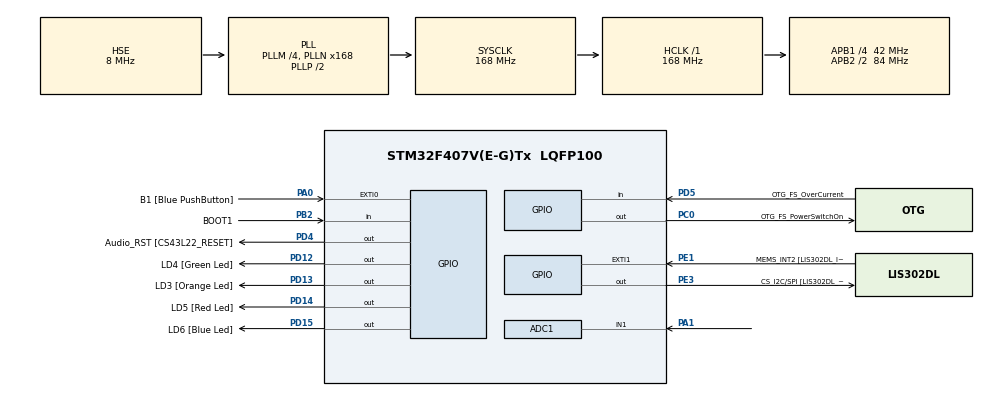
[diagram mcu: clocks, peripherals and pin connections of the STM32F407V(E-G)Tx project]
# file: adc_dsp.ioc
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ADC1.Channel-0\#ChannelRegularConversion=ADC_CHANNEL_1
ADC1.ClockPrescaler=ADC_CLOCK_SYNC_PCLK_DIV4
ADC1.ContinuousConvMode=ENABLE
ADC1.DMAContinuousRequests=ENABLE
ADC1.DataAlign=ADC_DATAALIGN_RIGHT
ADC1.DiscontinuousConvMode=DISABLE
ADC1.EOCSelection=ADC_EOC_SINGLE_CONV
ADC1.EnableAnalogWatchDog=false
ADC1.ExternalTrigConv=ADC_SOFTWARE_START
ADC1.ExternalTrigConvEdge=ADC_EXTERNALTRIGCONVEDGE_NONE
ADC1.InjNumberOfConversion=0
ADC1.NbrOfConversion=1
ADC1.NbrOfConversionFlag=1
ADC1.Rank-0\#ChannelRegularConversion=1
ADC1.Resolution=ADC_RESOLUTION_12B
ADC1.SamplingTime-0\#ChannelRegularConversion=ADC_SAMPLETIME_3CYCLES
ADC1.ScanConvMode=DISABLE
ADC1.master=1
Dma.ADC1.0.Direction=DMA_PERIPH_TO_MEMORY
Dma.ADC1.0.FIFOMode=DMA_FIFOMODE_DISABLE
Dma.ADC1.0.Instance=DMA2_Stream0
Dma.ADC1.0.MemDataAlignment=DMA_MDATAALIGN_WORD
Dma.ADC1.0.MemInc=DMA_MINC_ENABLE
Dma.ADC1.0.Mode=DMA_CIRCULAR
Dma.ADC1.0.PeriphDataAlignment=DMA_PDATAALIGN_WORD
Dma.ADC1.0.PeriphInc=DMA_PINC_DISABLE
Dma.ADC1.0.Priority=DMA_PRIORITY_HIGH
Dma.Request0=ADC1
Mcu.Family=STM32F4
Mcu.Name=STM32F407V(E-G)Tx
Mcu.Package=LQFP100
NVIC.ADC_IRQn=true\:0\:0\:false\:false\:true\:true
NVIC.DMA2_Stream0_IRQn=true\:0\:0\:false\:false\:true\:false
NVIC.PriorityGroup=NVIC_PRIORITYGROUP_0
PA0-WKUP.GPIO_Label=B1 [Blue PushButton]
PA0-WKUP.Signal=GPXTI0
PA1.Signal=ADCx_IN1
PA10.GPIO_Label=OTG_FS_ID
PA10.GPIO_Mode=GPIO_MODE_AF_PP
PA10.GPIO_PuPd=GPIO_NOPULL
PA10.GPIO_Speed=GPIO_SPEED_FREQ_LOW
PA10.Signal=USB_OTG_FS_ID
PA11.GPIO_Label=OTG_FS_DM
PA11.GPIO_Mode=GPIO_MODE_AF_PP
PA11.GPIO_PuPd=GPIO_NOPULL
PA11.GPIO_Speed=GPIO_SPEED_FREQ_LOW
PA11.Signal=USB_OTG_FS_DM
PA12.GPIO_Label=OTG_FS_DP
PA12.GPIO_Mode=GPIO_MODE_AF_PP
PA12.GPIO_PuPd=GPIO_NOPULL
PA12.GPIO_Speed=GPIO_SPEED_FREQ_LOW
PA12.Signal=USB_OTG_FS_DP
PA13.GPIO_Label=SWDIO
PA13.Signal=SYS_JTMS-SWDIO
PA14.GPIO_Label=SWCLK
PA14.Signal=SYS_JTCK-SWCLK
PA4.GPIO_Label=I2S3_WS [CS43L22_LRCK]
PA4.GPIO_Mode=GPIO_MODE_AF_PP
PA4.GPIO_PuPd=GPIO_NOPULL
PA4.GPIO_Speed=GPIO_SPEED_FREQ_LOW
PA4.Signal=I2S3_WS
PA5.GPIO_Label=SPI1_SCK [LIS302DL_SCL/SPC]
PA5.GPIO_Mode=GPIO_MODE_AF_PP
PA5.GPIO_PuPd=GPIO_NOPULL
PA5.GPIO_Speed=GPIO_SPEED_FREQ_LOW
PA5.Signal=SPI1_SCK
PA6.GPIO_Label=SPI1_MISO [LIS302DL_SDO]
PA6.GPIO_Mode=GPIO_MODE_AF_PP
PA6.GPIO_PuPd=GPIO_NOPULL
PA6.GPIO_Speed=GPIO_SPEED_FREQ_LOW
PA6.Signal=SPI1_MISO
PA7.GPIO_Label=SPI1_MOSI [LIS302DL_SDA/SDI/SDO]
PA7.GPIO_Mode=GPIO_MODE_AF_PP
PA7.GPIO_PuPd=GPIO_NOPULL
PA7.GPIO_Speed=GPIO_SPEED_FREQ_LOW
PA7.Signal=SPI1_MOSI
PA9.GPIO_Label=VBUS_FS
PA9.GPIO_Mode=GPIO_MODE_INPUT
PA9.GPIO_PuPd=GPIO_NOPULL
PA9.Signal=USB_OTG_FS_VBUS
PB10.GPIO_Label=CLK_IN [MP45DT02_CLK]
PB10.GPIO_Mode=GPIO_MODE_AF_PP
PB10.GPIO_PuPd=GPIO_NOPULL
PB10.GPIO_Speed=GPIO_SPEED_FREQ_LOW
PB10.Signal=I2S2_CK
PB2.GPIO_Label=BOOT1
PB2.GPIO_Mode=GPIO_MODE_INPUT
PB2.GPIO_PuPd=GPIO_NOPULL
PB2.Signal=GPIO_Input
PB3.GPIO_Label=SWO
PB3.Signal=SYS_JTDO-SWO
PB6.GPIO_Label=Audio_SCL [CS43L22_SCL]
PB6.GPIO_Mode=GPIO_MODE_AF_OD
PB6.GPIO_PuPd=GPIO_NOPULL
PB6.GPIO_Speed=GPIO_SPEED_FREQ_LOW
PB6.Signal=I2C1_SCL
PB9.GPIO_Label=Audio_SDA [CS43L22_SDA]
PB9.GPIO_Mode=GPIO_MODE_AF_OD
PB9.GPIO_PuPd=GPIO_NOPULL
PB9.GPIO_Speed=GPIO_SPEED_FREQ_LOW
PB9.Signal=I2C1_SDA
PC0.GPIO_Label=OTG_FS_PowerSwitchOn
PC0.GPIO_PuPd=GPIO_NOPULL
PC0.GPIO_Speed=GPIO_SPEED_FREQ_LOW
PC0.PinState=GPIO_PIN_SET
PC0.Signal=GPIO_Output
PC10.GPIO_Label=I2S3_SCK [CS43L22_SCLK]
PC10.GPIO_Mode=GPIO_MODE_AF_PP
PC10.GPIO_PuPd=GPIO_NOPULL
PC10.GPIO_Speed=GPIO_SPEED_FREQ_LOW
PC10.Signal=I2S3_CK
PC12.GPIO_Label=I2S3_SD [CS43L22_SDIN]
PC12.GPIO_Mode=GPIO_MODE_AF_PP
PC12.GPIO_PuPd=GPIO_NOPULL
PC12.GPIO_Speed=GPIO_SPEED_FREQ_LOW
PC12.Signal=I2S3_SD
PC14-OSC32_IN.GPIO_Label=PC14-OSC32_IN
PC14-OSC32_IN.Signal=RCC_OSC32_IN
PC15-OSC32_OUT.GPIO_Label=PC15-OSC32_OUT
PC15-OSC32_OUT.Signal=RCC_OSC32_OUT
PC3.GPIO_Label=PDM_OUT [MP45DT02_DOUT]
PC3.GPIO_Mode=GPIO_MODE_AF_PP
PC3.GPIO_PuPd=GPIO_NOPULL
PC3.GPIO_Speed=GPIO_SPEED_FREQ_LOW
PC3.Signal=I2S2_SD
PC7.GPIO_Label=I2S3_MCK [CS43L22_MCLK]
PC7.GPIO_Mode=GPIO_MODE_AF_PP
PC7.GPIO_PuPd=GPIO_NOPULL
PC7.GPIO_Speed=GPIO_SPEED_FREQ_LOW
PC7.Signal=I2S3_MCK
PD12.GPIO_Label=LD4 [Green Led]
PD12.GPIO_PuPd=GPIO_NOPULL
PD12.GPIO_Speed=GPIO_SPEED_FREQ_LOW
PD12.Signal=GPIO_Output
PD13.GPIO_Label=LD3 [Orange Led]
PD13.GPIO_PuPd=GPIO_NOPULL
PD13.GPIO_Speed=GPIO_SPEED_FREQ_LOW
PD13.Signal=GPIO_Output
PD14.GPIO_Label=LD5 [Red Led]
PD14.GPIO_PuPd=GPIO_NOPULL
PD14.GPIO_Speed=GPIO_SPEED_FREQ_LOW
PD14.Signal=GPIO_Output
PD15.GPIO_Label=LD6 [Blue Led]
PD15.GPIO_PuPd=GPIO_NOPULL
PD15.GPIO_Speed=GPIO_SPEED_FREQ_LOW
PD15.Signal=GPIO_Output
PD4.GPIO_Label=Audio_RST [CS43L22_RESET]
PD4.GPIO_PuPd=GPIO_NOPULL
PD4.GPIO_Speed=GPIO_SPEED_FREQ_LOW
PD4.Signal=GPIO_Output
PD5.GPIO_Label=OTG_FS_OverCurrent
PD5.GPIO_Mode=GPIO_MODE_INPUT
PD5.GPIO_PuPd=GPIO_NOPULL
PD5.Signal=GPIO_Input
PE1.GPIO_Label=MEMS_INT2 [LIS302DL_INT2]
PE1.GPIO_ModeDefaultEXTI=GPIO_MODE_EVT_RISING
PE1.GPIO_PuPd=GPIO_NOPULL
PE1.Signal=GPXTI1
PE3.GPIO_Label=CS_I2C/SPI [LIS302DL_CS_I2C/SPI]
PE3.GPIO_PuPd=GPIO_NOPULL
PE3.GPIO_Speed=GPIO_SPEED_FREQ_LOW
PE3.Signal=GPIO_Output
PH0-OSC_IN.GPIO_Label=PH0-OSC_IN
PH0-OSC_IN.Mode=HSE-External-Oscillator
PH0-OSC_IN.Signal=RCC_OSC_IN
PH1-OSC_OUT.GPIO_Label=PH1-OSC_OUT
PH1-OSC_OUT.Mode=HSE-External-Oscillator
PH1-OSC_OUT.Signal=RCC_OSC_OUT
ProjectManager.HeapSize=0x200
ProjectManager.StackSize=0x400
ProjectManager.TargetToolchain=SW4STM32
RCC.48MHZClocksFreq_Value=48000000
RCC.AHBFreq_Value=168000000
RCC.APB1CLKDivider=RCC_HCLK_DIV4
RCC.APB1Freq_Value=42000000
RCC.APB1TimFreq_Value=84000000
RCC.APB2CLKDivider=RCC_HCLK_DIV2
RCC.APB2Freq_Value=84000000
RCC.APB2TimFreq_Value=168000000
RCC.CortexFreq_Value=168000000
RCC.HCLKFreq_Value=168000000
RCC.HSE_VALUE=8000000
RCC.HSI_VALUE=16000000
RCC.LSE_VALUE=32768
RCC.PLLM=4
RCC.PLLN=168
RCC.PLLQ=7
RCC.PLLSourceVirtual=RCC_PLLSOURCE_HSE
RCC.SYSCLKFreq_VALUE=168000000
RCC.SYSCLKSource=RCC_SYSCLKSOURCE_PLLCLK
RCC.VCOOutputFreq_Value=336000000
SH.ADCx_IN1.0=ADC1_IN1,IN1
board=STM32F4DISCOVERY

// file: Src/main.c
/**
  ******************************************************************************
  * File Name          : main.c
  * Description        : Main program body
  ******************************************************************************
  ** This notice applies to any and all portions of this file
  * that are not between comment pairs USER CODE BEGIN and
  * USER CODE END. Other portions of this file, whether
  * inserted by the user or by software development tools
  * are owned by their respective copyright owners.
  *
  * COPYRIGHT(c) 2017 STMicroelectronics
  *
  * Redistribution and use in source and binary forms, with or without modification,
  * are permitted provided that the following conditions are met:
  *   1. Redistributions of source code must retain the above copyright notice,
  *      this list of conditions and the following disclaimer.
  *   2. Redistributions in binary form must reproduce the above copyright notice,
  *      this list of conditions and the following disclaimer in the documentation
  *      and/or other materials provided with the distribution.
  *   3. Neither the name of STMicroelectronics nor the names of its contributors
  *      may be used to endorse or promote products derived from this software
  *      without specific prior written permission.
  *
  * THIS SOFTWARE IS PROVIDED BY THE COPYRIGHT HOLDERS AND CONTRIBUTORS "AS IS"
  * AND ANY EXPRESS OR IMPLIED WARRANTIES, INCLUDING, BUT NOT LIMITED TO, THE
  * IMPLIED WARRANTIES OF MERCHANTABILITY AND FITNESS FOR A PARTICULAR PURPOSE ARE
  * DISCLAIMED. IN NO EVENT SHALL THE COPYRIGHT HOLDER OR CONTRIBUTORS BE LIABLE
  * FOR ANY DIRECT, INDIRECT, INCIDENTAL, SPECIAL, EXEMPLARY, OR CONSEQUENTIAL
  * DAMAGES (INCLUDING, BUT NOT LIMITED TO, PROCUREMENT OF SUBSTITUTE GOODS OR
  * SERVICES; LOSS OF USE, DATA, OR PROFITS; OR BUSINESS INTERRUPTION) HOWEVER
  * CAUSED AND ON ANY THEORY OF LIABILITY, WHETHER IN CONTRACT, STRICT LIABILITY,
  * OR TORT (INCLUDING NEGLIGENCE OR OTHERWISE) ARISING IN ANY WAY OUT OF THE USE
  * OF THIS SOFTWARE, EVEN IF ADVISED OF THE POSSIBILITY OF SUCH DAMAGE.
  *
  ******************************************************************************
  */

#include "main.h"
#include "stm32f4xx_hal.h"

ADC_HandleTypeDef hadc1;
DMA_HandleTypeDef hdma_adc1;

/* USER CODE BEGIN PV */
/* Private variables ---------------------------------------------------------*/
#define MAX_DSP_BUFFER_SIZE 8
static int16_t ADCSamples[MAX_DSP_BUFFER_SIZE];
static int16_t DSPSamples[MAX_DSP_BUFFER_SIZE];
static uint8_t memcopy_complete;
static uint8_t adc_complete;
/* USER CODE END PV */

void SystemClock_Config(void);
static void MX_GPIO_Init(void);
static void MX_DMA_Init(void);
static void MX_ADC1_Init(void);

/* USER CODE BEGIN PFP */
/* Private function prototypes -----------------------------------------------*/

/* USER CODE END PFP */

/* USER CODE BEGIN 0 */
void XferCpltCallback(DMA_HandleTypeDef * hdma){
	memcopy_complete = 1;
	return;
}

void ADCDMA_XferCpltCallback(DMA_HandleTypeDef * hdma){
	adc_complete = 1;
	return;
}

/* USER CODE END 0 */

int main(void)
{

  /* USER CODE BEGIN 1 */
	uint32_t i;
	HAL_StatusTypeDef status;
  /* USER CODE END 1 */

  /* MCU Configuration----------------------------------------------------------*/

  /* Reset of all peripherals, Initializes the Flash interface and the Systick. */
  HAL_Init();

  /* Configure the system clock */
  SystemClock_Config();

  /* USER CODE BEGIN SysInit */
  //  hadc1.DMA_Handle = &hdma_adc1;
  /* USER CODE END SysInit */

  /* Initialize all configured peripherals */
  MX_GPIO_Init();
  MX_DMA_Init();
  MX_ADC1_Init();

  /* Infinite loop */
  /* USER CODE BEGIN WHILE */
  /* status = HAL_DMA_RegisterCallback(&hdma_memtomem_dma2_stream1, HAL_DMA_XFER_CPLT_CB_ID, XferCpltCallback); */
  /* if (HAL_OK != status){ */
  /* 	  Error_Handler(); */
  /* } */
  /* status = HAL_DMA_RegisterCallback(&hdma_adc1, HAL_DMA_XFER_CPLT_CB_ID, ADCDMA_XferCpltCallback); */
  /* if (HAL_OK != status){ */
  /* 	  Error_Handler(); */
  /* } */
  /* memcopy_complete = 0; */
  /* adc_complete = 0; */

  status = HAL_ADC_Start_DMA(&hadc1, &ADCSamples[0], MAX_DSP_BUFFER_SIZE);
  if (HAL_OK != status){
  	  Error_Handler();
  }

  __enable_irq();

  while (1)
  {
  /* USER CODE END WHILE */

  /* USER CODE BEGIN 3 */
//	  for (i=0; i<MAX_DSP_BUFFER_SIZE-1; i++){
//		  DSPSamples[i] = 0;
//		  ADCSamples[i] = i;
//	  }

	  // Copy the ADC Samples over to the DSP buffer
	  /* if (adc_complete){ */
	  /* 	  adc_complete = 0; */
	  /* 	  memcopy_complete = 0; */
	  /* 	  status = HAL_DMA_Start_IT(&hdma_memtomem_dma2_stream1, &ADCSamples[0], &DSPSamples[0], MAX_DSP_BUFFER_SIZE); */
	  /* 	  if (HAL_OK != status){ */
	  /* 		  Error_Handler(); */
	  /* 	  } */
	  /* } */
	  /* if (memcopy_complete){ */
	  /* 	  // DO DSP WORK! */
	  /* 	  __NOP(); */
	  /* } */
  }
  /* USER CODE END 3 */

}

/** System Clock Configuration
*/
void SystemClock_Config(void)
{

  RCC_OscInitTypeDef RCC_OscInitStruct;
  RCC_ClkInitTypeDef RCC_ClkInitStruct;

    /**Configure the main internal regulator output voltage
    */
  __HAL_RCC_PWR_CLK_ENABLE();

  __HAL_PWR_VOLTAGESCALING_CONFIG(PWR_REGULATOR_VOLTAGE_SCALE1);

    /**Initializes the CPU, AHB and APB busses clocks
    */
  RCC_OscInitStruct.OscillatorType = RCC_OSCILLATORTYPE_HSE;
  RCC_OscInitStruct.HSEState = RCC_HSE_ON;
  RCC_OscInitStruct.PLL.PLLState = RCC_PLL_ON;
  RCC_OscInitStruct.PLL.PLLSource = RCC_PLLSOURCE_HSE;
  RCC_OscInitStruct.PLL.PLLM = 4;
  RCC_OscInitStruct.PLL.PLLN = 168;
  RCC_OscInitStruct.PLL.PLLP = RCC_PLLP_DIV2;
  RCC_OscInitStruct.PLL.PLLQ = 7;
  if (HAL_RCC_OscConfig(&RCC_OscInitStruct) != HAL_OK)
  {
    _Error_Handler(__FILE__, __LINE__);
  }

    /**Initializes the CPU, AHB and APB busses clocks
    */
  RCC_ClkInitStruct.ClockType = RCC_CLOCKTYPE_HCLK|RCC_CLOCKTYPE_SYSCLK
                              |RCC_CLOCKTYPE_PCLK1|RCC_CLOCKTYPE_PCLK2;
  RCC_ClkInitStruct.SYSCLKSource = RCC_SYSCLKSOURCE_PLLCLK;
  RCC_ClkInitStruct.AHBCLKDivider = RCC_SYSCLK_DIV1;
  RCC_ClkInitStruct.APB1CLKDivider = RCC_HCLK_DIV4;
  RCC_ClkInitStruct.APB2CLKDivider = RCC_HCLK_DIV2;

  if (HAL_RCC_ClockConfig(&RCC_ClkInitStruct, FLASH_LATENCY_5) != HAL_OK)
  {
    _Error_Handler(__FILE__, __LINE__);
  }

    /**Configure the Systick interrupt time
    */
  HAL_SYSTICK_Config(HAL_RCC_GetHCLKFreq()/1000);

    /**Configure the Systick
    */
  HAL_SYSTICK_CLKSourceConfig(SYSTICK_CLKSOURCE_HCLK);

  /* SysTick_IRQn interrupt configuration */
  HAL_NVIC_SetPriority(SysTick_IRQn, 0, 0);
}

/* ADC1 init function */
static void MX_ADC1_Init(void)
{

  ADC_ChannelConfTypeDef sConfig;

    /**Configure the global features of the ADC (Clock, Resolution, Data Alignment and number of conversion)
    */
  hadc1.Instance = ADC1;
  hadc1.Init.ClockPrescaler = ADC_CLOCK_SYNC_PCLK_DIV4;
  hadc1.Init.Resolution = ADC_RESOLUTION_12B;
  hadc1.Init.ScanConvMode = DISABLE;
  hadc1.Init.ContinuousConvMode = ENABLE;
  hadc1.Init.DiscontinuousConvMode = DISABLE;
  hadc1.Init.ExternalTrigConvEdge = ADC_EXTERNALTRIGCONVEDGE_NONE;
  hadc1.Init.ExternalTrigConv = ADC_SOFTWARE_START;
  hadc1.Init.DataAlign = ADC_DATAALIGN_RIGHT;
  hadc1.Init.NbrOfConversion = 1;
  hadc1.Init.DMAContinuousRequests = ENABLE;
  hadc1.Init.EOCSelection = ADC_EOC_SINGLE_CONV;
  if (HAL_ADC_Init(&hadc1) != HAL_OK)
  {
    _Error_Handler(__FILE__, __LINE__);
  }

    /**Configure for the selected ADC regular channel its corresponding rank in the sequencer and its sample time.
    */
  sConfig.Channel = ADC_CHANNEL_1;
  sConfig.Rank = 1;
  sConfig.SamplingTime = ADC_SAMPLETIME_3CYCLES;
  if (HAL_ADC_ConfigChannel(&hadc1, &sConfig) != HAL_OK)
  {
    _Error_Handler(__FILE__, __LINE__);
  }

}

static void MX_DMA_Init(void)
{
  /* DMA controller clock enable */
  __HAL_RCC_DMA2_CLK_ENABLE();

  /* DMA interrupt init */
  /* DMA2_Stream0_IRQn interrupt configuration */
  HAL_NVIC_SetPriority(DMA2_Stream0_IRQn, 0, 0);
  HAL_NVIC_EnableIRQ(DMA2_Stream0_IRQn);

}

/** Configure pins as
        * Analog
        * Input
        * Output
        * EVENT_OUT
        * EXTI
     PC3   ------> I2S2_SD
     PA4   ------> I2S3_WS
     PA5   ------> SPI1_SCK
     PA6   ------> SPI1_MISO
     PA7   ------> SPI1_MOSI
     PB10   ------> I2S2_CK
     PC7   ------> I2S3_MCK
     PA9   ------> USB_OTG_FS_VBUS
     PA10   ------> USB_OTG_FS_ID
     PA11   ------> USB_OTG_FS_DM
     PA12   ------> USB_OTG_FS_DP
     PC10   ------> I2S3_CK
     PC12   ------> I2S3_SD
     PB6   ------> I2C1_SCL
     PB9   ------> I2C1_SDA
*/
static void MX_GPIO_Init(void)
{

  GPIO_InitTypeDef GPIO_InitStruct;

  /* GPIO Ports Clock Enable */
  __HAL_RCC_GPIOE_CLK_ENABLE();
  __HAL_RCC_GPIOC_CLK_ENABLE();
  __HAL_RCC_GPIOH_CLK_ENABLE();
  __HAL_RCC_GPIOA_CLK_ENABLE();
  __HAL_RCC_GPIOB_CLK_ENABLE();
  __HAL_RCC_GPIOD_CLK_ENABLE();

  /*Configure GPIO pin Output Level */
  HAL_GPIO_WritePin(CS_I2C_SPI_GPIO_Port, CS_I2C_SPI_Pin, GPIO_PIN_RESET);

  /*Configure GPIO pin Output Level */
  HAL_GPIO_WritePin(OTG_FS_PowerSwitchOn_GPIO_Port, OTG_FS_PowerSwitchOn_Pin, GPIO_PIN_SET);

  /*Configure GPIO pin Output Level */
  HAL_GPIO_WritePin(GPIOD, LD4_Pin|LD3_Pin|LD5_Pin|LD6_Pin
                          |Audio_RST_Pin, GPIO_PIN_RESET);

  /*Configure GPIO pin : CS_I2C_SPI_Pin */
  GPIO_InitStruct.Pin = CS_I2C_SPI_Pin;
  GPIO_InitStruct.Mode = GPIO_MODE_OUTPUT_PP;
  GPIO_InitStruct.Pull = GPIO_NOPULL;
  GPIO_InitStruct.Speed = GPIO_SPEED_FREQ_LOW;
  HAL_GPIO_Init(CS_I2C_SPI_GPIO_Port, &GPIO_InitStruct);

  /*Configure GPIO pin : OTG_FS_PowerSwitchOn_Pin */
  GPIO_InitStruct.Pin = OTG_FS_PowerSwitchOn_Pin;
  GPIO_InitStruct.Mode = GPIO_MODE_OUTPUT_PP;
  GPIO_InitStruct.Pull = GPIO_NOPULL;
  GPIO_InitStruct.Speed = GPIO_SPEED_FREQ_LOW;
  HAL_GPIO_Init(OTG_FS_PowerSwitchOn_GPIO_Port, &GPIO_InitStruct);

  /*Configure GPIO pin : PDM_OUT_Pin */
  GPIO_InitStruct.Pin = PDM_OUT_Pin;
  GPIO_InitStruct.Mode = GPIO_MODE_AF_PP;
  GPIO_InitStruct.Pull = GPIO_NOPULL;
  GPIO_InitStruct.Speed = GPIO_SPEED_FREQ_LOW;
  GPIO_InitStruct.Alternate = GPIO_AF5_SPI2;
  HAL_GPIO_Init(PDM_OUT_GPIO_Port, &GPIO_InitStruct);

  /*Configure GPIO pin : B1_Pin */
  GPIO_InitStruct.Pin = B1_Pin;
  GPIO_InitStruct.Mode = GPIO_MODE_IT_RISING;
  GPIO_InitStruct.Pull = GPIO_NOPULL;
  HAL_GPIO_Init(B1_GPIO_Port, &GPIO_InitStruct);

  /*Configure GPIO pin : I2S3_WS_Pin */
  GPIO_InitStruct.Pin = I2S3_WS_Pin;
  GPIO_InitStruct.Mode = GPIO_MODE_AF_PP;
  GPIO_InitStruct.Pull = GPIO_NOPULL;
  GPIO_InitStruct.Speed = GPIO_SPEED_FREQ_LOW;
  GPIO_InitStruct.Alternate = GPIO_AF6_SPI3;
  HAL_GPIO_Init(I2S3_WS_GPIO_Port, &GPIO_InitStruct);

  /*Configure GPIO pins : SPI1_SCK_Pin SPI1_MISO_Pin SPI1_MOSI_Pin */
  GPIO_InitStruct.Pin = SPI1_SCK_Pin|SPI1_MISO_Pin|SPI1_MOSI_Pin;
  GPIO_InitStruct.Mode = GPIO_MODE_AF_PP;
  GPIO_InitStruct.Pull = GPIO_NOPULL;
  GPIO_InitStruct.Speed = GPIO_SPEED_FREQ_LOW;
  GPIO_InitStruct.Alternate = GPIO_AF5_SPI1;
  HAL_GPIO_Init(GPIOA, &GPIO_InitStruct);

  /*Configure GPIO pin : BOOT1_Pin */
  GPIO_InitStruct.Pin = BOOT1_Pin;
  GPIO_InitStruct.Mode = GPIO_MODE_INPUT;
  GPIO_InitStruct.Pull = GPIO_NOPULL;
  HAL_GPIO_Init(BOOT1_GPIO_Port, &GPIO_InitStruct);

  /*Configure GPIO pin : CLK_IN_Pin */
  GPIO_InitStruct.Pin = CLK_IN_Pin;
  GPIO_InitStruct.Mode = GPIO_MODE_AF_PP;
  GPIO_InitStruct.Pull = GPIO_NOPULL;
  GPIO_InitStruct.Speed = GPIO_SPEED_FREQ_LOW;
  GPIO_InitStruct.Alternate = GPIO_AF5_SPI2;
  HAL_GPIO_Init(CLK_IN_GPIO_Port, &GPIO_InitStruct);

  /*Configure GPIO pins : LD4_Pin LD3_Pin LD5_Pin LD6_Pin
                           Audio_RST_Pin */
  GPIO_InitStruct.Pin = LD4_Pin|LD3_Pin|LD5_Pin|LD6_Pin
                          |Audio_RST_Pin;
  GPIO_InitStruct.Mode = GPIO_MODE_OUTPUT_PP;
  GPIO_InitStruct.Pull = GPIO_NOPULL;
  GPIO_InitStruct.Speed = GPIO_SPEED_FREQ_LOW;
  HAL_GPIO_Init(GPIOD, &GPIO_InitStruct);

  /*Configure GPIO pins : I2S3_MCK_Pin I2S3_SCK_Pin I2S3_SD_Pin */
  GPIO_InitStruct.Pin = I2S3_MCK_Pin|I2S3_SCK_Pin|I2S3_SD_Pin;
  GPIO_InitStruct.Mode = GPIO_MODE_AF_PP;
  GPIO_InitStruct.Pull = GPIO_NOPULL;
  GPIO_InitStruct.Speed = GPIO_SPEED_FREQ_LOW;
  GPIO_InitStruct.Alternate = GPIO_AF6_SPI3;
  HAL_GPIO_Init(GPIOC, &GPIO_InitStruct);

  /*Configure GPIO pin : VBUS_FS_Pin */
  GPIO_InitStruct.Pin = VBUS_FS_Pin;
  GPIO_InitStruct.Mode = GPIO_MODE_INPUT;
  GPIO_InitStruct.Pull = GPIO_NOPULL;
  HAL_GPIO_Init(VBUS_FS_GPIO_Port, &GPIO_InitStruct);

  /*Configure GPIO pins : OTG_FS_ID_Pin OTG_FS_DM_Pin OTG_FS_DP_Pin */
  GPIO_InitStruct.Pin = OTG_FS_ID_Pin|OTG_FS_DM_Pin|OTG_FS_DP_Pin;
  GPIO_InitStruct.Mode = GPIO_MODE_AF_PP;
  GPIO_InitStruct.Pull = GPIO_NOPULL;
  GPIO_InitStruct.Speed = GPIO_SPEED_FREQ_LOW;
  GPIO_InitStruct.Alternate = GPIO_AF10_OTG_FS;
  HAL_GPIO_Init(GPIOA, &GPIO_InitStruct);

  /*Configure GPIO pin : OTG_FS_OverCurrent_Pin */
  GPIO_InitStruct.Pin = OTG_FS_OverCurrent_Pin;
  GPIO_InitStruct.Mode = GPIO_MODE_INPUT;
  GPIO_InitStruct.Pull = GPIO_NOPULL;
  HAL_GPIO_Init(OTG_FS_OverCurrent_GPIO_Port, &GPIO_InitStruct);

  /*Configure GPIO pins : Audio_SCL_Pin Audio_SDA_Pin */
  GPIO_InitStruct.Pin = Audio_SCL_Pin|Audio_SDA_Pin;
  GPIO_InitStruct.Mode = GPIO_MODE_AF_OD;
  GPIO_InitStruct.Pull = GPIO_PULLUP;
  GPIO_InitStruct.Speed = GPIO_SPEED_FREQ_LOW;
  GPIO_InitStruct.Alternate = GPIO_AF4_I2C1;
  HAL_GPIO_Init(GPIOB, &GPIO_InitStruct);

  /*Configure GPIO pin : MEMS_INT2_Pin */
  GPIO_InitStruct.Pin = MEMS_INT2_Pin;
  GPIO_InitStruct.Mode = GPIO_MODE_EVT_RISING;
  GPIO_InitStruct.Pull = GPIO_NOPULL;
  HAL_GPIO_Init(MEMS_INT2_GPIO_Port, &GPIO_InitStruct);

}

void _Error_Handler(char * file, int line)
{
  while(1)
  {
  }
}

/************************ (C) COPYRIGHT STMicroelectronics *****END OF FILE****/
